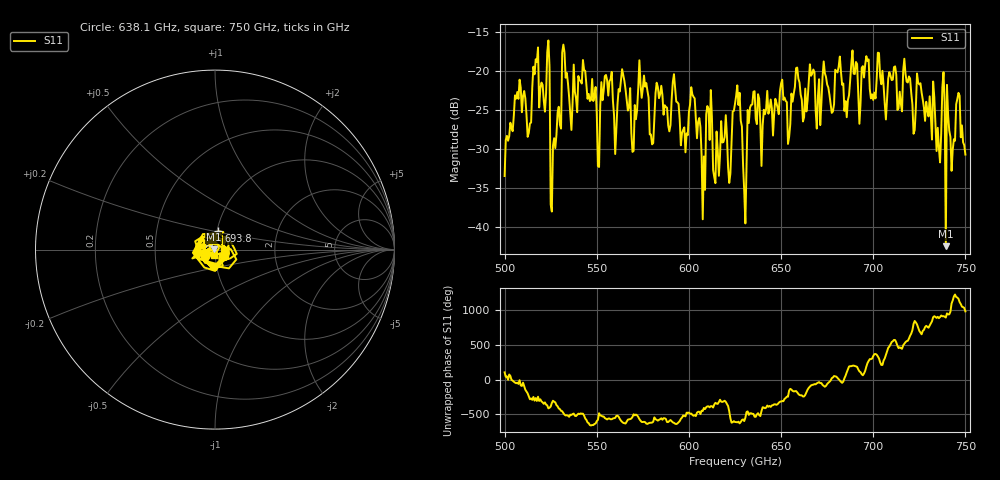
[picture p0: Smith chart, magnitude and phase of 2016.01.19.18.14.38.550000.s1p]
!Created with skrf (http://scikit-rf.org).
# GHz S RI R 50.0
!freq ReS11 ImS11
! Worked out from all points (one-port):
!   401 points, 500 GHz to 750 GHz, reference 50 ohm
!   lowest |S11| = -42.5 dB at 739.4 GHz (marker M1), VSWR 1.02, Z = 49.3 + j0.0639 ohm
!   |S11| at or under -10 dB: start of sweep to end of sweep
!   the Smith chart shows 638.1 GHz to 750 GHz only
!   S11 on the Smith chart (normalised r, x): 638.1 GHz: 0.89, -0.06; 693.8 GHz: 1.02, +0.21; 750 GHz: 0.99, -0.06
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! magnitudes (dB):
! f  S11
! 500 GHz  -33.5
! 506.9 GHz  -22.7
! 513.1 GHz  -28.0
! 516.9 GHz  -18.5
! 523.1 GHz  -17.6
! 526.2 GHz  -29.6
! 531.2 GHz  -17.6
! 550.6 GHz  -32.2
! 562.5 GHz  -22.6
! 570 GHz  -30.3
! 574.4 GHz  -23.5
! 580 GHz  -29.4
! 583.8 GHz  -23.5
! 593.8 GHz  -24.0
! 602.5 GHz  -23.3
! 607.5 GHz  -39.1
! 610.6 GHz  -24.9
! 621.9 GHz  -34.4
! 625 GHz  -24.2
! 630 GHz  -35.4
! 634.4 GHz  -24.3
! 638.1 GHz  -23.6
! 656.2 GHz  -24.0
! 687.5 GHz  -21.2
! 693.8 GHz  -19.6
! 718.8 GHz  -21.5
! 739.4 GHz  -42.5
! 750 GHz  -30.8
